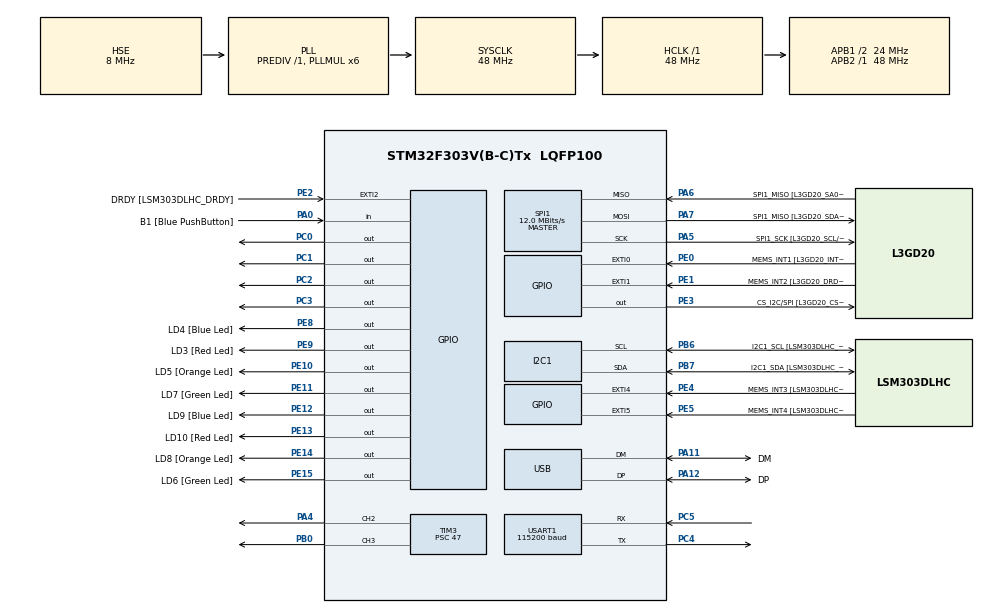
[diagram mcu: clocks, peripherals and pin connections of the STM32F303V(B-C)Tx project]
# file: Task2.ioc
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I2C1.Timing=0x2000090E
I2C1.Timing-I2C=0x2000090E
Mcu.Family=STM32F3
Mcu.Name=STM32F303V(B-C)Tx
Mcu.Package=LQFP100
NVIC.PriorityGroup=NVIC_PRIORITYGROUP_0
NVIC.TIM2_IRQn=true\:0\:0\:false\:false\:true\:true\:true\:true
NVIC.TIM3_IRQn=true\:0\:0\:false\:false\:true\:true\:true\:true
PA0.GPIO_Label=B1 [Blue PushButton]
PA0.Signal=GPIO_Input
PA11.GPIO_Label=DM
PA11.Mode=Device
PA11.Signal=USB_DM
PA12.GPIO_Label=DP
PA12.Mode=Device
PA12.Signal=USB_DP
PA13.GPIO_Label=SWDIO
PA13.Mode=Serial_Wire
PA13.Signal=SYS_JTMS-SWDIO
PA14.GPIO_Label=SWCLK
PA14.Mode=Serial_Wire
PA14.Signal=SYS_JTCK-SWCLK
PA4.Signal=S_TIM3_CH2
PA5.GPIO_Label=SPI1_SCK [L3GD20_SCL/SPC]
PA5.Mode=Full_Duplex_Master
PA5.Signal=SPI1_SCK
PA6.GPIO_Label=SPI1_MISO [L3GD20_SA0/SDO]
PA6.Mode=Full_Duplex_Master
PA6.Signal=SPI1_MISO
PA7.GPIO_Label=SPI1_MISO [L3GD20_SDA/SDI/SDO]
PA7.Mode=Full_Duplex_Master
PA7.Signal=SPI1_MOSI
PB0.Signal=S_TIM3_CH3
PB3.GPIO_Label=SWO
PB3.Signal=SYS_JTDO-TRACESWO
PB6.GPIO_Label=I2C1_SCL [LSM303DLHC_SCL]
PB6.GPIO_Pu=GPIO_PULLUP
PB6.Mode=I2C
PB6.Signal=I2C1_SCL
PB7.GPIO_Label=I2C1_SDA [LSM303DLHC_SDA]
PB7.GPIO_Pu=GPIO_PULLUP
PB7.Mode=I2C
PB7.Signal=I2C1_SDA
PC0.Signal=GPIO_Output
PC1.Signal=GPIO_Output
PC14-OSC32_IN.GPIO_Label=OSC32_IN
PC14-OSC32_IN.Signal=RCC_OSC32_IN
PC15-OSC32_OUT.GPIO_Label=OSC32_OUT
PC15-OSC32_OUT.Signal=RCC_OSC32_OUT
PC2.Signal=GPIO_Output
PC3.Signal=GPIO_Output
PC4.Mode=Asynchronous
PC4.Signal=USART1_TX
PC5.Mode=Asynchronous
PC5.Signal=USART1_RX
PE0.GPIO_Label=MEMS_INT1 [L3GD20_INT1]
PE0.GPIO_ModeDefaultEXTI=GPIO_MODE_EVT_RISING
PE0.Signal=GPXTI0
PE1.GPIO_Label=MEMS_INT2 [L3GD20_DRDY/INT2]
PE1.GPIO_ModeDefaultEXTI=GPIO_MODE_EVT_RISING
PE1.Signal=GPXTI1
PE10.GPIO_Label=LD5 [Orange Led]
PE10.Signal=GPIO_Output
PE11.GPIO_Label=LD7 [Green Led]
PE11.Signal=GPIO_Output
PE12.GPIO_Label=LD9 [Blue Led]
PE12.Signal=GPIO_Output
PE13.GPIO_Label=LD10 [Red Led]
PE13.Signal=GPIO_Output
PE14.GPIO_Label=LD8 [Orange Led]
PE14.Signal=GPIO_Output
PE15.GPIO_Label=LD6 [Green Led]
PE15.Signal=GPIO_Output
PE2.GPIO_Label=DRDY [LSM303DLHC_DRDY]
PE2.GPIO_ModeDefaultEXTI=GPIO_MODE_EVT_RISING
PE2.Signal=GPXTI2
PE3.GPIO_Label=CS_I2C/SPI [L3GD20_CS_I2C/SPI]
PE3.Signal=GPIO_Output
PE4.GPIO_Label=MEMS_INT3 [LSM303DLHC_INT1]
PE4.GPIO_ModeDefaultEXTI=GPIO_MODE_EVT_RISING
PE4.Signal=GPXTI4
PE5.GPIO_Label=MEMS_INT4 [LSM303DLHC_INT2]
PE5.GPIO_ModeDefaultEXTI=GPIO_MODE_EVT_RISING
PE5.Signal=GPXTI5
PE8.GPIO_Label=LD4 [Blue Led]
PE8.Signal=GPIO_Output
PE9.GPIO_Label=LD3 [Red Led]
PE9.Signal=GPIO_Output
PF0-OSC_IN.GPIO_Label=OSC_IN
PF0-OSC_IN.Mode=HSE-External-Clock-Source
PF0-OSC_IN.Signal=RCC_OSC_IN
PF1-OSC_OUT.GPIO_Label=OSC_OUT
PF1-OSC_OUT.Signal=RCC_OSC_OUT
ProjectManager.HeapSize=0x200
ProjectManager.StackSize=0x400
ProjectManager.TargetToolchain=CMake
RCC.AHBFreq_Value=48000000
RCC.APB1CLKDivider=RCC_HCLK_DIV2
RCC.APB1Freq_Value=24000000
RCC.APB1TimFreq_Value=48000000
RCC.APB2Freq_Value=48000000
RCC.APB2TimFreq_Value=48000000
RCC.CortexFreq_Value=48000000
RCC.HCLKFreq_Value=48000000
RCC.HSE_VALUE=8000000
RCC.HSI_VALUE=8000000
RCC.LSE_VALUE=32768
RCC.PLLMUL=RCC_PLL_MUL6
RCC.SYSCLKFreq_VALUE=48000000
RCC.SYSCLKSourceVirtual=RCC_SYSCLKSOURCE_PLLCLK
RCC.USBFreq_Value=48000000
SH.S_TIM3_CH2.0=TIM3_CH2,PWM Generation2 CH2
SH.S_TIM3_CH3.0=TIM3_CH3,PWM Generation3 CH3
SPI1.BaudRatePrescaler=SPI_BAUDRATEPRESCALER_4
SPI1.BaudRatePrescaler-Full_Duplex_Master=SPI_BAUDRATEPRESCALER_2
SPI1.CLKPhase=SPI_PHASE_2EDGE
SPI1.CLKPolarity=SPI_POLARITY_HIGH
SPI1.CalculateBaudRate=12.0 MBits/s
SPI1.CalculateBaudRate-Full_Duplex_Master=24.0 MBits/s
SPI1.DataSize=SPI_DATASIZE_8BIT
SPI1.Direction=SPI_DIRECTION_2LINES
SPI1.Mode=SPI_MODE_MASTER
SPI1.Mode-Full_Duplex_Master=SPI_MODE_MASTER
SPI1.VirtualType=VM_MASTER
TIM2.Period=49
TIM2.Prescaler=4799
TIM3.Channel-PWM\ Generation2\ CH2=TIM_CHANNEL_2
TIM3.Channel-PWM\ Generation3\ CH3=TIM_CHANNEL_3
TIM3.Period=999
TIM3.Prescaler=47
USART1.BaudRate=115200
USART1.VirtualMode-Asynchronous=VM_ASYNC
VP_TIM1_VS_ClockSourceINT.Mode=Internal
VP_TIM2_VS_ClockSourceINT.Mode=Internal
VP_TIM3_VS_ClockSourceINT.Mode=Internal
board=STM32F3DISCOVERY

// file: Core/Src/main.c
/* USER CODE BEGIN Header */
/**
  ******************************************************************************
  * @file           : main.c
  * @brief          : Main program body
  ******************************************************************************
  * @attention
  *
  * Copyright (c) 2026 STMicroelectronics.
  * All rights reserved.
  *
  * This software is licensed under terms that can be found in the LICENSE file
  * in the root directory of this software component.
  * If no LICENSE file comes with this software, it is provided AS-IS.
  *
  ******************************************************************************
  */
/* USER CODE END Header */
#include "main.h"
#include "IMU.h"
#include "Pid.h"
#include <math.h>
#include <stdio.h>
#include <string.h>

I2C_HandleTypeDef hi2c1;

SPI_HandleTypeDef hspi1;

TIM_HandleTypeDef htim1;
TIM_HandleTypeDef htim2;
TIM_HandleTypeDef htim3;

UART_HandleTypeDef huart1;

PCD_HandleTypeDef hpcd_USB_FS;

/* USER CODE BEGIN PV */
PID_Controller balance_pid;

struct imu_output output;
char uart_msg[96];
int flag = 0;
/* USER CODE END PV */

void SystemClock_Config(void);
static void MX_GPIO_Init(void);
static void MX_I2C1_Init(void);
static void MX_SPI1_Init(void);
static void MX_TIM2_Init(void);
static void MX_TIM3_Init(void);
static void MX_USART1_UART_Init(void);
static void MX_USB_PCD_Init(void);
static void MX_TIM1_Init(void);

int main(void)
{

  /* MCU Configuration--------------------------------------------------------*/

  /* Reset of all peripherals, Initializes the Flash interface and the Systick. */
  HAL_Init();

  /* Configure the system clock */
  SystemClock_Config();

  /* Initialize all configured peripherals */
  MX_GPIO_Init();
  MX_I2C1_Init();
  MX_SPI1_Init();
  MX_TIM2_Init();
  MX_TIM3_Init();
  MX_USART1_UART_Init();
  MX_USB_PCD_Init();
  MX_TIM1_Init();
  /* USER CODE BEGIN 2 */
  IMU_Init(&hspi1, &hi2c1);
  PID_Init(&balance_pid);

  IMU_OffsetCalibrate(&hspi1, &hi2c1);

  if (HAL_TIM_Base_Start_IT(&htim2) != HAL_OK)
  {
    Error_Handler();
  }

  HAL_TIM_PWM_Start(&htim3, TIM_CHANNEL_2);
  HAL_TIM_PWM_Start(&htim3, TIM_CHANNEL_3);

  /* USER CODE END 2 */

  /* Infinite loop */
  while (1)
  {

  }
}

void SystemClock_Config(void)
{
  RCC_OscInitTypeDef RCC_OscInitStruct = {0};
  RCC_ClkInitTypeDef RCC_ClkInitStruct = {0};
  RCC_PeriphCLKInitTypeDef PeriphClkInit = {0};

  /** Initializes the RCC Oscillators according to the specified parameters
  * in the RCC_OscInitTypeDef structure.
  */
  RCC_OscInitStruct.OscillatorType = RCC_OSCILLATORTYPE_HSI|RCC_OSCILLATORTYPE_HSE;
  RCC_OscInitStruct.HSEState = RCC_HSE_BYPASS;
  RCC_OscInitStruct.HSEPredivValue = RCC_HSE_PREDIV_DIV1;
  RCC_OscInitStruct.HSIState = RCC_HSI_ON;
  RCC_OscInitStruct.HSICalibrationValue = RCC_HSICALIBRATION_DEFAULT;
  RCC_OscInitStruct.PLL.PLLState = RCC_PLL_ON;
  RCC_OscInitStruct.PLL.PLLSource = RCC_PLLSOURCE_HSE;
  RCC_OscInitStruct.PLL.PLLMUL = RCC_PLL_MUL6;
  if (HAL_RCC_OscConfig(&RCC_OscInitStruct) != HAL_OK)
  {
    Error_Handler();
  }

  /** Initializes the CPU, AHB and APB buses clocks
  */
  RCC_ClkInitStruct.ClockType = RCC_CLOCKTYPE_HCLK|RCC_CLOCKTYPE_SYSCLK
                              |RCC_CLOCKTYPE_PCLK1|RCC_CLOCKTYPE_PCLK2;
  RCC_ClkInitStruct.SYSCLKSource = RCC_SYSCLKSOURCE_PLLCLK;
  RCC_ClkInitStruct.AHBCLKDivider = RCC_SYSCLK_DIV1;
  RCC_ClkInitStruct.APB1CLKDivider = RCC_HCLK_DIV2;
  RCC_ClkInitStruct.APB2CLKDivider = RCC_HCLK_DIV1;

  if (HAL_RCC_ClockConfig(&RCC_ClkInitStruct, FLASH_LATENCY_1) != HAL_OK)
  {
    Error_Handler();
  }
  PeriphClkInit.PeriphClockSelection = RCC_PERIPHCLK_USB|RCC_PERIPHCLK_USART1
                              |RCC_PERIPHCLK_I2C1|RCC_PERIPHCLK_TIM1;
  PeriphClkInit.Usart1ClockSelection = RCC_USART1CLKSOURCE_PCLK2;
  PeriphClkInit.I2c1ClockSelection = RCC_I2C1CLKSOURCE_HSI;
  PeriphClkInit.USBClockSelection = RCC_USBCLKSOURCE_PLL;
  PeriphClkInit.Tim1ClockSelection = RCC_TIM1CLK_HCLK;
  if (HAL_RCCEx_PeriphCLKConfig(&PeriphClkInit) != HAL_OK)
  {
    Error_Handler();
  }
}

static void MX_I2C1_Init(void)
{

  hi2c1.Instance = I2C1;
  hi2c1.Init.Timing = 0x2000090E;
  hi2c1.Init.OwnAddress1 = 0;
  hi2c1.Init.AddressingMode = I2C_ADDRESSINGMODE_7BIT;
  hi2c1.Init.DualAddressMode = I2C_DUALADDRESS_DISABLE;
  hi2c1.Init.OwnAddress2 = 0;
  hi2c1.Init.OwnAddress2Masks = I2C_OA2_NOMASK;
  hi2c1.Init.GeneralCallMode = I2C_GENERALCALL_DISABLE;
  hi2c1.Init.NoStretchMode = I2C_NOSTRETCH_DISABLE;
  if (HAL_I2C_Init(&hi2c1) != HAL_OK)
  {
    Error_Handler();
  }

  /** Configure Analogue filter
  */
  if (HAL_I2CEx_ConfigAnalogFilter(&hi2c1, I2C_ANALOGFILTER_ENABLE) != HAL_OK)
  {
    Error_Handler();
  }

  /** Configure Digital filter
  */
  if (HAL_I2CEx_ConfigDigitalFilter(&hi2c1, 0) != HAL_OK)
  {
    Error_Handler();
  }

}

static void MX_SPI1_Init(void)
{

  /* SPI1 parameter configuration*/
  hspi1.Instance = SPI1;
  hspi1.Init.Mode = SPI_MODE_MASTER;
  hspi1.Init.Direction = SPI_DIRECTION_2LINES;
  hspi1.Init.DataSize = SPI_DATASIZE_8BIT;
  hspi1.Init.CLKPolarity = SPI_POLARITY_HIGH;
  hspi1.Init.CLKPhase = SPI_PHASE_2EDGE;
  hspi1.Init.NSS = SPI_NSS_SOFT;
  hspi1.Init.BaudRatePrescaler = SPI_BAUDRATEPRESCALER_4;
  hspi1.Init.FirstBit = SPI_FIRSTBIT_MSB;
  hspi1.Init.TIMode = SPI_TIMODE_DISABLE;
  hspi1.Init.CRCCalculation = SPI_CRCCALCULATION_DISABLE;
  hspi1.Init.CRCPolynomial = 7;
  hspi1.Init.CRCLength = SPI_CRC_LENGTH_DATASIZE;
  hspi1.Init.NSSPMode = SPI_NSS_PULSE_DISABLE;
  if (HAL_SPI_Init(&hspi1) != HAL_OK)
  {
    Error_Handler();
  }

}

static void MX_TIM1_Init(void)
{

  TIM_ClockConfigTypeDef sClockSourceConfig = {0};
  TIM_MasterConfigTypeDef sMasterConfig = {0};

  htim1.Instance = TIM1;
  htim1.Init.Prescaler = 0;
  htim1.Init.CounterMode = TIM_COUNTERMODE_UP;
  htim1.Init.Period = 65535;
  htim1.Init.ClockDivision = TIM_CLOCKDIVISION_DIV1;
  htim1.Init.RepetitionCounter = 0;
  htim1.Init.AutoReloadPreload = TIM_AUTORELOAD_PRELOAD_DISABLE;
  if (HAL_TIM_Base_Init(&htim1) != HAL_OK)
  {
    Error_Handler();
  }
  sClockSourceConfig.ClockSource = TIM_CLOCKSOURCE_INTERNAL;
  if (HAL_TIM_ConfigClockSource(&htim1, &sClockSourceConfig) != HAL_OK)
  {
    Error_Handler();
  }
  sMasterConfig.MasterOutputTrigger = TIM_TRGO_RESET;
  sMasterConfig.MasterOutputTrigger2 = TIM_TRGO2_RESET;
  sMasterConfig.MasterSlaveMode = TIM_MASTERSLAVEMODE_DISABLE;
  if (HAL_TIMEx_MasterConfigSynchronization(&htim1, &sMasterConfig) != HAL_OK)
  {
    Error_Handler();
  }

}

static void MX_TIM2_Init(void)
{

  TIM_ClockConfigTypeDef sClockSourceConfig = {0};
  TIM_MasterConfigTypeDef sMasterConfig = {0};

  htim2.Instance = TIM2;
  htim2.Init.Prescaler = 4799;
  htim2.Init.CounterMode = TIM_COUNTERMODE_UP;
  htim2.Init.Period = 49;
  htim2.Init.ClockDivision = TIM_CLOCKDIVISION_DIV1;
  htim2.Init.AutoReloadPreload = TIM_AUTORELOAD_PRELOAD_DISABLE;
  if (HAL_TIM_Base_Init(&htim2) != HAL_OK)
  {
    Error_Handler();
  }
  sClockSourceConfig.ClockSource = TIM_CLOCKSOURCE_INTERNAL;
  if (HAL_TIM_ConfigClockSource(&htim2, &sClockSourceConfig) != HAL_OK)
  {
    Error_Handler();
  }
  sMasterConfig.MasterOutputTrigger = TIM_TRGO_RESET;
  sMasterConfig.MasterSlaveMode = TIM_MASTERSLAVEMODE_DISABLE;
  if (HAL_TIMEx_MasterConfigSynchronization(&htim2, &sMasterConfig) != HAL_OK)
  {
    Error_Handler();
  }

}

static void MX_TIM3_Init(void)
{

  TIM_ClockConfigTypeDef sClockSourceConfig = {0};
  TIM_MasterConfigTypeDef sMasterConfig = {0};
  TIM_OC_InitTypeDef sConfigOC = {0};

  htim3.Instance = TIM3;
  htim3.Init.Prescaler = 47;
  htim3.Init.CounterMode = TIM_COUNTERMODE_UP;
  htim3.Init.Period = 999;
  htim3.Init.ClockDivision = TIM_CLOCKDIVISION_DIV1;
  htim3.Init.AutoReloadPreload = TIM_AUTORELOAD_PRELOAD_DISABLE;
  if (HAL_TIM_Base_Init(&htim3) != HAL_OK)
  {
    Error_Handler();
  }
  sClockSourceConfig.ClockSource = TIM_CLOCKSOURCE_INTERNAL;
  if (HAL_TIM_ConfigClockSource(&htim3, &sClockSourceConfig) != HAL_OK)
  {
    Error_Handler();
  }
  if (HAL_TIM_PWM_Init(&htim3) != HAL_OK)
  {
    Error_Handler();
  }
  sMasterConfig.MasterOutputTrigger = TIM_TRGO_RESET;
  sMasterConfig.MasterSlaveMode = TIM_MASTERSLAVEMODE_DISABLE;
  if (HAL_TIMEx_MasterConfigSynchronization(&htim3, &sMasterConfig) != HAL_OK)
  {
    Error_Handler();
  }
  sConfigOC.OCMode = TIM_OCMODE_PWM1;
  sConfigOC.Pulse = 0;
  sConfigOC.OCPolarity = TIM_OCPOLARITY_HIGH;
  sConfigOC.OCFastMode = TIM_OCFAST_DISABLE;
  if (HAL_TIM_PWM_ConfigChannel(&htim3, &sConfigOC, TIM_CHANNEL_2) != HAL_OK)
  {
    Error_Handler();
  }
  if (HAL_TIM_PWM_ConfigChannel(&htim3, &sConfigOC, TIM_CHANNEL_3) != HAL_OK)
  {
    Error_Handler();
  }
  HAL_TIM_MspPostInit(&htim3);

}

static void MX_USART1_UART_Init(void)
{

  huart1.Instance = USART1;
  huart1.Init.BaudRate = 115200;
  huart1.Init.WordLength = UART_WORDLENGTH_8B;
  huart1.Init.StopBits = UART_STOPBITS_1;
  huart1.Init.Parity = UART_PARITY_NONE;
  huart1.Init.Mode = UART_MODE_TX_RX;
  huart1.Init.HwFlowCtl = UART_HWCONTROL_NONE;
  huart1.Init.OverSampling = UART_OVERSAMPLING_16;
  huart1.Init.OneBitSampling = UART_ONE_BIT_SAMPLE_DISABLE;
  huart1.AdvancedInit.AdvFeatureInit = UART_ADVFEATURE_NO_INIT;
  if (HAL_UART_Init(&huart1) != HAL_OK)
  {
    Error_Handler();
  }

}

static void MX_USB_PCD_Init(void)
{

  hpcd_USB_FS.Instance = USB;
  hpcd_USB_FS.Init.dev_endpoints = 8;
  hpcd_USB_FS.Init.speed = PCD_SPEED_FULL;
  hpcd_USB_FS.Init.phy_itface = PCD_PHY_EMBEDDED;
  hpcd_USB_FS.Init.low_power_enable = DISABLE;
  hpcd_USB_FS.Init.battery_charging_enable = DISABLE;
  if (HAL_PCD_Init(&hpcd_USB_FS) != HAL_OK)
  {
    Error_Handler();
  }

}

static void MX_GPIO_Init(void)
{
  GPIO_InitTypeDef GPIO_InitStruct = {0};

  /* GPIO Ports Clock Enable */
  __HAL_RCC_GPIOE_CLK_ENABLE();
  __HAL_RCC_GPIOC_CLK_ENABLE();
  __HAL_RCC_GPIOF_CLK_ENABLE();
  __HAL_RCC_GPIOA_CLK_ENABLE();
  __HAL_RCC_GPIOB_CLK_ENABLE();

  /*Configure GPIO pin Output Level */
  HAL_GPIO_WritePin(GPIOE, CS_I2C_SPI_Pin|LD4_Pin|LD3_Pin|LD5_Pin
                          |LD7_Pin|LD9_Pin|LD10_Pin|LD8_Pin
                          |LD6_Pin, GPIO_PIN_RESET);

  /*Configure GPIO pin Output Level */
  HAL_GPIO_WritePin(GPIOC, GPIO_PIN_0|GPIO_PIN_1|GPIO_PIN_2|GPIO_PIN_3, GPIO_PIN_RESET);

  /*Configure GPIO pins : DRDY_Pin MEMS_INT3_Pin MEMS_INT4_Pin MEMS_INT1_Pin
                           MEMS_INT2_Pin */
  GPIO_InitStruct.Pin = DRDY_Pin|MEMS_INT3_Pin|MEMS_INT4_Pin|MEMS_INT1_Pin
                          |MEMS_INT2_Pin;
  GPIO_InitStruct.Mode = GPIO_MODE_EVT_RISING;
  GPIO_InitStruct.Pull = GPIO_NOPULL;
  HAL_GPIO_Init(GPIOE, &GPIO_InitStruct);

  /*Configure GPIO pins : CS_I2C_SPI_Pin LD4_Pin LD3_Pin LD5_Pin
                           LD7_Pin LD9_Pin LD10_Pin LD8_Pin
                           LD6_Pin */
  GPIO_InitStruct.Pin = CS_I2C_SPI_Pin|LD4_Pin|LD3_Pin|LD5_Pin
                          |LD7_Pin|LD9_Pin|LD10_Pin|LD8_Pin
                          |LD6_Pin;
  GPIO_InitStruct.Mode = GPIO_MODE_OUTPUT_PP;
  GPIO_InitStruct.Pull = GPIO_NOPULL;
  GPIO_InitStruct.Speed = GPIO_SPEED_FREQ_LOW;
  HAL_GPIO_Init(GPIOE, &GPIO_InitStruct);

  /*Configure GPIO pins : PC0 PC1 PC2 PC3 */
  GPIO_InitStruct.Pin = GPIO_PIN_0|GPIO_PIN_1|GPIO_PIN_2|GPIO_PIN_3;
  GPIO_InitStruct.Mode = GPIO_MODE_OUTPUT_PP;
  GPIO_InitStruct.Pull = GPIO_NOPULL;
  GPIO_InitStruct.Speed = GPIO_SPEED_FREQ_LOW;
  HAL_GPIO_Init(GPIOC, &GPIO_InitStruct);

  /*Configure GPIO pin : B1_Pin */
  GPIO_InitStruct.Pin = B1_Pin;
  GPIO_InitStruct.Mode = GPIO_MODE_INPUT;
  GPIO_InitStruct.Pull = GPIO_NOPULL;
  HAL_GPIO_Init(B1_GPIO_Port, &GPIO_InitStruct);

}

/* USER CODE BEGIN 4 */

/**
  * @brief  TIM2 Period Elapsed Callback (called on every timer reset)
  * @param  htim: pointer to a TIM_HandleTypeDef structure that contains
  *                the configuration information for TIM module.
  * @retval None
  */
void HAL_TIM_PeriodElapsedCallback(TIM_HandleTypeDef *htim)
{
  if (htim->Instance == TIM2) {

    output = IMU_UpdateAngle(&hspi1, &hi2c1);

    if(flag >= 9){
      flag = 0;
      int len = snprintf(uart_msg, sizeof(uart_msg), "%.2f\r\n", output.tilt_angle);
      if (len > 0)
      {
        HAL_UART_Transmit(&huart1, (uint8_t *)uart_msg, (uint16_t)len, 100);
      }
    }

    if (output.tilt_angle > 45.0f || output.tilt_angle < -45.0f) {
        PID_ApplyMotors(0.0f,
                        &htim3,
                        TIM_CHANNEL_2, TIM_CHANNEL_3,
                        GPIOC, GPIO_PIN_1,
                        GPIOC, GPIO_PIN_0,
                        GPIOC, GPIO_PIN_3,
                        GPIOC, GPIO_PIN_2);
        return;
    }
    else{
      float output2 = PID_Compute(&balance_pid, output.tilt_angle);

      PID_ApplyMotors(output2,
        &htim3,
        TIM_CHANNEL_2, TIM_CHANNEL_3,
        GPIOC, GPIO_PIN_1,
        GPIOC, GPIO_PIN_0,
        GPIOC, GPIO_PIN_3,
        GPIOC, GPIO_PIN_2);
        }
    flag++;
    }

}

/* USER CODE END 4 */

void Error_Handler(void)
{
  __disable_irq();
  while (1)
  {
  }
}
